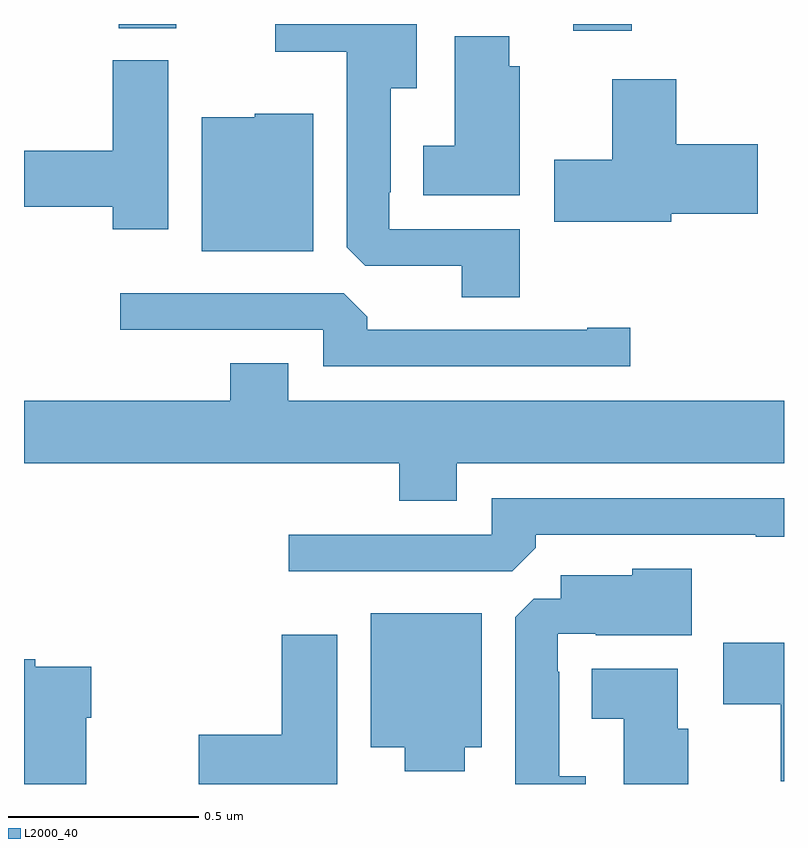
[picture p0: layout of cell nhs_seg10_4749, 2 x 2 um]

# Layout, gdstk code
import gdstk
lib = gdstk.Library(unit=1e-6, precision=1e-09)
def R(c, l, rs):  # rectangles x0, y0, x1, y1
    for r in rs: c.add(gdstk.rectangle(r[:2], r[2:], *l))
def P(c, l, *ps):  # polygons
    for p in ps: c.add(gdstk.Polygon(p, *l))
L2000_40 = (2000, 40)

nhs_seg10_4749 = lib.new_cell('nhs_seg10_4749')
R(nhs_seg10_4749, L2000_40, [(171.446,1273.482,171.599,1273.5), (170.249,1273.489,170.401,1273.5)])
P(nhs_seg10_4749, L2000_40, [(171.305,1272.96),(170.961,1272.96),(170.961,1273.057),(170.965,1273.057),(170.965,1273.331),(171.034,1273.331),(171.034,1273.5),(170.661,1273.5),(170.661,1273.427),(170.849,1273.427),(170.849,1272.913),(170.898,1272.864),(171.152,1272.864),(171.152,1272.781),(171.305,1272.781)],
  [(171.304,1273.389),(171.277,1273.389),(171.277,1273.468),(171.134,1273.468),(171.134,1273.18),(171.05,1273.18),(171.05,1273.049),(171.304,1273.049)],
  [(170.38,1273.404),(170.234,1273.404),(170.234,1273.166),(170,1273.166),(170,1273.019),(170.234,1273.019),(170.234,1272.96),(170.38,1272.96)],
  [(171.703,1273.001),(171.931,1273.001),(171.931,1273.184),(171.716,1273.184),(171.716,1273.354),(171.548,1273.354),(171.548,1273.143),(171.396,1273.143),(171.396,1272.98),(171.703,1272.98)],
  [(170.761,1273.264),(170.607,1273.264),(170.607,1273.255),(170.468,1273.255),(170.468,1272.902),(170.761,1272.902)],
  [(171.595,1272.701),(171.482,1272.701),(171.482,1272.696),(170.903,1272.696),(170.903,1272.73),(170.841,1272.792),(170.253,1272.792),(170.253,1272.696),(170.787,1272.696),(170.787,1272.6),(171.595,1272.6)],
  [(171.139,1272.344),(172,1272.344),(172,1272.508),(170.695,1272.508),(170.695,1272.607),(170.543,1272.607),(170.543,1272.508),(170,1272.508),(170,1272.344),(170.987,1272.344),(170.987,1272.245),(171.139,1272.245)],
  [(171.347,1272.122),(171.347,1272.156),(171.926,1272.156),(171.926,1272.151),(172,1272.151),(172,1272.252),(171.231,1272.252),(171.231,1272.156),(170.697,1272.156),(170.697,1272.06),(171.285,1272.06)],
  [(171.478,1271.521),(171.409,1271.521),(171.409,1271.795),(171.405,1271.795),(171.405,1271.895),(171.505,1271.895),(171.505,1271.891),(171.757,1271.891),(171.757,1272.067),(171.6,1272.067),(171.6,1272.049),(171.413,1272.049),(171.413,1271.988),(171.342,1271.988),(171.293,1271.939),(171.293,1271.5),(171.478,1271.5)],
  [(171.16,1271.597),(171.205,1271.597),(171.205,1271.95),(170.912,1271.95),(170.912,1271.597),(171.002,1271.597),(171.002,1271.534),(171.16,1271.534)],
  [(170.824,1271.893),(170.678,1271.893),(170.678,1271.63),(170.46,1271.63),(170.46,1271.5),(170.824,1271.5)],
  [(172,1271.872),(171.84,1271.872),(171.84,1271.71),(171.992,1271.71),(171.992,1271.507),(172,1271.507)],
  [(170.164,1271.675),(170.177,1271.675),(170.177,1271.808),(170.03,1271.808),(170.03,1271.828),(170,1271.828),(170,1271.5),(170.164,1271.5)],
  [(171.748,1271.646),(171.721,1271.646),(171.721,1271.803),(171.494,1271.803),(171.494,1271.672),(171.578,1271.672),(171.578,1271.5),(171.748,1271.5)])

lib.write_gds('nhs_seg10_4749.gds')
